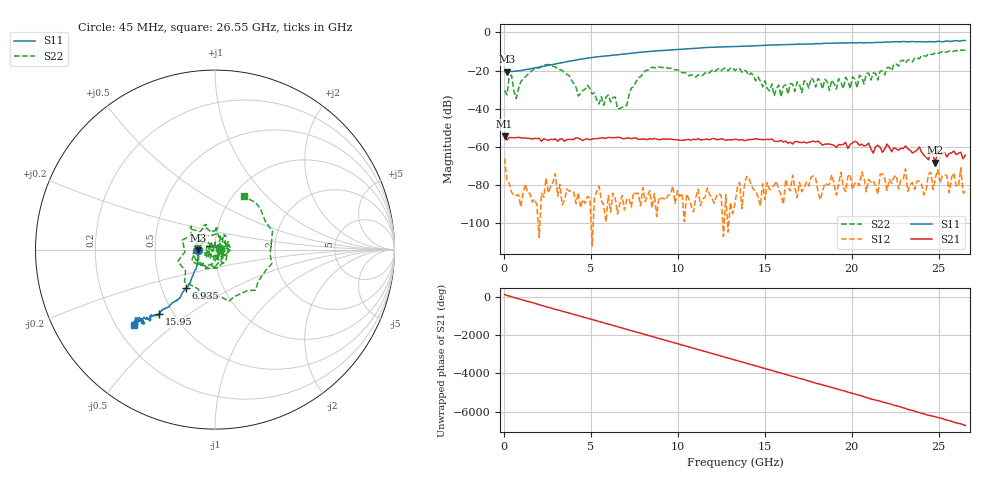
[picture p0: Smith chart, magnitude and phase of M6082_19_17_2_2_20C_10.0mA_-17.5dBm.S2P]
!  2-Port S-parameters saved by WinCal
! VAR MeasName=S-Parameters (CALIBRATED_DATA) read from VNA (C)
! VAR MeasDate=9/29/2015 4:42:35 PM
! VAR NAME=M6082_19_17_2_2_20C_10.0mA_-17.5dBm
! VAR FILENAME=M6082_19_17_2_2_20C_10.0mA_-17.5dBm.S2P
! VAR DATE=9/29/2015 4:42:35 PM
! VAR PHYS_PORTS=2,1
! VAR ObjTypeName=DATASET
! VAR IndexType=Frequency
# Hz S RI R 50
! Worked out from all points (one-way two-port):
!   201 points, 45 MHz to 26.55 GHz, reference 50 ohm
!   highest |S21| = -54.39 dB at 45 MHz (marker M1); lowest = -68.3 dB at 24.82 GHz (marker M2)
!   lowest |S11| = -20.5 dB at 177.5 MHz (marker M3), VSWR 1.21, Z = 41.4 - j0.415 ohm
!   |S11| at or under -10 dB: start of sweep to 8.336 GHz
!   |S22| runs from -40.1 to -9.2 dB; largest |S21 - S12| = 0.0018
!   S11 on the Smith chart (normalised r, x): 45 MHz: 0.83, -0.00; 6.935 GHz: 0.66, -0.31; 15.95 GHz: 0.42, -0.39; 26.55 GHz: 0.27, -0.37
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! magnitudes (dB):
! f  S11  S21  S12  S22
! 45 MHz  -20.4  -54.4  -66.1  -30.4
! 177.5 MHz  -20.5  -56.5  -77.7  -32.8
! 442.5 MHz  -20.5  -55.2  -83.7  -22.4
! 707.5 MHz  -20.3  -55.3  -85.5  -34.7
! 1.105 GHz  -19.8  -55.4  -84.3  -24.4
! 2.562 GHz  -17.3  -56.6  -84.1  -16.8
! 4.55 GHz  -13.9  -56.7  -87.6  -30.4
! 6.935 GHz  -11.3  -55.7  -93.1  -38.6
! 7.73 GHz  -10.5  -56.1  -84.2  -23.8
! 8.922 GHz  -9.6  -56.3  -86.5  -18.0
! 13.29 GHz  -7.4  -56.0  -89.7  -20.1
! 15.95 GHz  -6.4  -56.7  -85.3  -33.8
! 17.8 GHz  -6.0  -56.9  -75.3  -25.1
! 20.32 GHz  -5.5  -57.6  -78.6  -29.1
! 22.17 GHz  -5.0  -60.2  -77.1  -18.4
! 24.82 GHz  -4.9  -68.3  -76.1  -10.5
! 24.95 GHz  -4.7  -61.5  -72.0  -11.0
! 25.09 GHz  -4.7  -64.6  -79.0  -10.7
! 25.88 GHz  -4.4  -62.2  -73.7  -9.9
! 26.15 GHz  -4.6  -63.4  -80.5  -9.9
! 26.28 GHz  -4.5  -62.8  -71.0  -9.3
! 26.55 GHz  -4.2  -64.3  -83.4  -9.5
